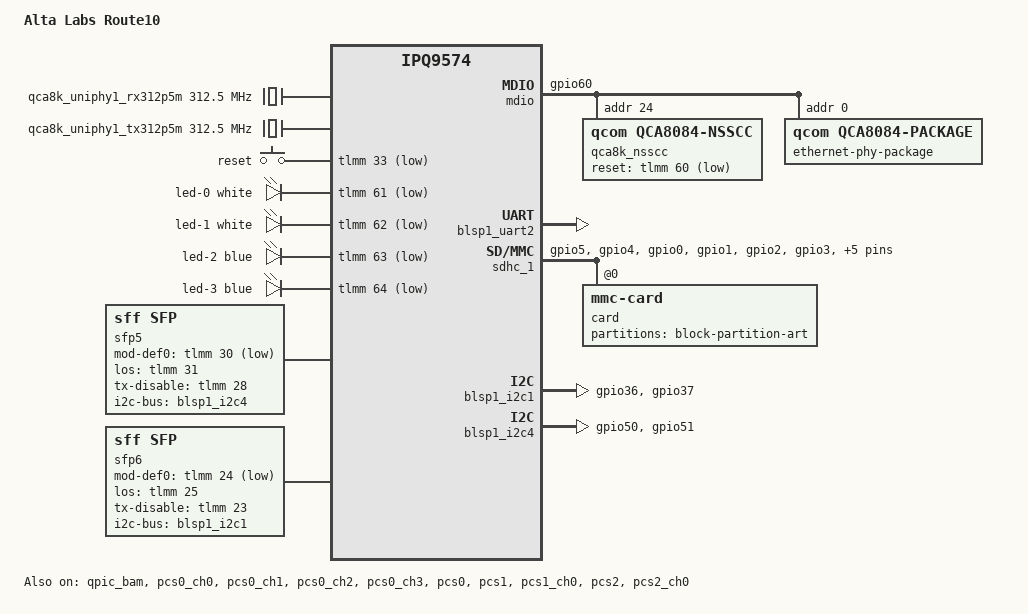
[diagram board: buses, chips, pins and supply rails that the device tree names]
// SPDX-License-Identifier: (GPL-2.0+ OR BSD-3-Clause)
/*
 * IPQ9574 Route10 board device tree source
 *
 * Copyright (c) 2020-2021 The Linux Foundation. All rights reserved.
 * Copyright (c) 2022-2024 Qualcomm Innovation Center, Inc. All rights reserved.
 * Copyright (c) 2026 Skylar Folf
 */

/dts-v1/;

#include <dt-bindings/gpio/gpio.h>
#include <dt-bindings/input/input.h>
#include <dt-bindings/leds/common.h>
#include <dt-bindings/net/qcom,qca808x.h>
#include <dt-bindings/clock/qcom,qca8k-nsscc.h>
#include <dt-bindings/reset/qcom,qca8k-nsscc.h>
#include <dt-bindings/clock/qcom,ipq-cmn-pll.h>
#include "ipq9574.dtsi"

/ {
	model = "Alta Labs Route10";
	compatible = "alta,route10", "qcom,ipq9574";

	aliases {
		serial0 = &blsp1_uart2;
		serial1 = &blsp1_uart4;
		serial2 = &blsp1_uart3;
		ethernet0 = &xgmac1;
		ethernet1 = &xgmac2;
		ethernet2 = &xgmac3;
		ethernet3 = &xgmac4;
		ethernet4 = &xgmac5;
		ethernet5 = &xgmac6;
	};

	chosen {
		stdout-path = "serial0:115200n8";
		bootargs-append = " vmalloc=1G";
	};

	clocks {
		qca8k_uniphy1_rx312p5m: qca8k-uniphy1-rx312p5m {
			compatible = "fixed-clock";
			clock-frequency = <312500000>;
			#clock-cells = <0>;
		};

		qca8k_uniphy1_tx312p5m: qca8k-uniphy1-tx312p5m {
			compatible = "fixed-clock";
			clock-frequency = <312500000>;
			#clock-cells = <0>;
		};
	};

	keys {
		compatible = "gpio-keys";
		pinctrl-0 = <&button_pins>;
		pinctrl-names = "default";

		button-reset {
			label = "reset";
			linux,code = <KEY_RESTART>;
			gpios = <&tlmm 33 GPIO_ACTIVE_LOW>;
			debounce-interval = <60>;
		};
	};

	leds {
		compatible = "gpio-leds";
		pinctrl-0 = <&sfp_leds>;
		pinctrl-names = "default";

		led-0 {
			color = <LED_COLOR_ID_WHITE>;
			function = LED_FUNCTION_LAN;
			function-enumerator = <4>;
			gpios = <&tlmm 61 GPIO_ACTIVE_LOW>;
		};

		led-1 {
			color = <LED_COLOR_ID_WHITE>;
			function = LED_FUNCTION_WAN;
			function-enumerator = <2>;
			gpios = <&tlmm 62 GPIO_ACTIVE_LOW>;
		};

		led-2 {
			color = <LED_COLOR_ID_BLUE>;
			function = LED_FUNCTION_LAN;
			function-enumerator = <4>;
			gpios = <&tlmm 63 GPIO_ACTIVE_LOW>;
		};

		led-3 {
			color = <LED_COLOR_ID_BLUE>;
			function = LED_FUNCTION_WAN;
			function-enumerator = <2>;
			gpios = <&tlmm 64 GPIO_ACTIVE_LOW>;
		};
	};

	/*
	 * Each cage's i2c bus and presence/LOS GPIOs follow the UNIPHY SERDES
	 * it is wired to, not pin adjacency: UNIPHY1 (wan2, port 5) uses
	 * blsp1_i2c4 with gpio28/30/31, UNIPHY2 (lan4, port 6) uses blsp1_i2c1
	 * with gpio23/24/25. Crossing them lets the driver manage one cage's
	 * module while the SERDES carries the other, so the module is detected
	 * but the host PCS never syncs.
	 */
	sfp5: sfp-5 {
		compatible = "sff,sfp";
		pinctrl-0 = <&sfp_pins_wan2>;
		pinctrl-names = "default";
		i2c-bus = <&blsp1_i2c4>;
		mod-def0-gpios = <&tlmm 30 GPIO_ACTIVE_LOW>;
		los-gpios = <&tlmm 31 GPIO_ACTIVE_HIGH>;
		tx-disable-gpios = <&tlmm 28 GPIO_ACTIVE_HIGH>;
	};

	sfp6: sfp-6 {
		compatible = "sff,sfp";
		pinctrl-0 = <&sfp_pins_lan4>;
		pinctrl-names = "default";
		i2c-bus = <&blsp1_i2c1>;
		mod-def0-gpios = <&tlmm 24 GPIO_ACTIVE_LOW>;
		los-gpios = <&tlmm 25 GPIO_ACTIVE_HIGH>;
		tx-disable-gpios = <&tlmm 23 GPIO_ACTIVE_HIGH>;
	};
};

&qpic_bam {
	status = "okay";
};

&sleep_clk {
	clock-frequency = <32000>;
};

&usb_0_qmpphy {
	status = "disabled";
};

&rpm_requests {
	regulators {
		compatible = "qcom,rpm-mp5496-regulators";

		ipq9574_s1: s1 {
			regulator-min-microvolt = <587500>;
			regulator-max-microvolt = <1075000>;
		};

		ipq9574_s2: s2 {
			regulator-min-microvolt = <700000>;
			regulator-max-microvolt = <1000000>;
		};
	};
};

&tlmm {
	button_pins: button-pins {
		reset-button {
			pins = "gpio33";
			function = "gpio";
			drive-strength = <8>;
			bias-pull-up;
		};
	};

	emmc_pins: emmc-pins {
		emmc-clk {
			pins = "gpio5";
			function = "sdc_clk";
			drive-strength = <8>;
			bias-disable;
		};

		emmc-cmd {
			pins = "gpio4";
			function = "sdc_cmd";
			drive-strength = <8>;
			bias-pull-up;
		};

		emmc-data {
			pins = "gpio0", "gpio1", "gpio2",
			       "gpio3", "gpio6", "gpio7",
			       "gpio8", "gpio9";
			function = "sdc_data";
			drive-strength = <8>;
			bias-pull-up;
		};

		emmc-rclk {
			pins = "gpio10";
			function = "sdc_rclk";
			drive-strength = <8>;
			bias-pull-down;
		};
	};

	sfp_leds: sfp-leds-pinmux {
		led-en {
			pins = "gpio43";
			function = "gpio";
			drive-strength = <2>;
			bias-pull-down;
			output-low;
		};

		sfp-white-lan4 {
			pins = "gpio61";
			function = "gpio";
			drive-strength = <8>;
			bias-pull-up;
		};

		sfp-white-wan2 {
			pins = "gpio62";
			function = "gpio";
			drive-strength = <8>;
			bias-pull-up;
		};

		sfp-blue-lan4 {
			pins = "gpio63";
			function = "gpio";
			drive-strength = <8>;
			bias-pull-up;
		};

		sfp-blue-wan2 {
			pins = "gpio64";
			function = "gpio";
			drive-strength = <8>;
			bias-pull-up;
		};
	};

	sfp_pins_wan2: sfp-pinmux-wan2 {
		sfp-tx {
			pins = "gpio28";
			function = "gpio";
			drive-strength = <8>;
			bias-pull-down;
			output-low;
		};

		sfp-modabs {
			pins = "gpio30";
			function = "gpio";
			drive-strength = <8>;
			bias-pull-up;
		};

		sfp-rx {
			pins = "gpio31";
			function = "gpio";
			drive-strength = <8>;
			bias-disable;
		};
	};

	sfp_pins_lan4: sfp-pinmux-lan4 {
		sfp-tx {
			pins = "gpio23";
			function = "gpio";
			drive-strength = <8>;
			bias-pull-down;
			output-low;
		};

		sfp-modabs {
			pins = "gpio24";
			function = "gpio";
			drive-strength = <8>;
			bias-pull-up;
		};

		sfp-rx {
			pins = "gpio25";
			function = "gpio";
			drive-strength = <8>;
			bias-disable;
		};
	};

	i2c_1_pins: i2c-1-pins {
		pins = "gpio36", "gpio37";
		function = "blsp1_i2c";
		drive-strength = <8>;
		bias-disable;
	};

	phy_reset_pins: phy-reset-pins {
		pins = "gpio60";
		function = "gpio";
		drive-strength = <2>;
		bias-disable;
	};

	i2c_4_pins: i2c-4-pins {
		pins = "gpio50", "gpio51";
		function = "blsp4_i2c";
		drive-strength = <8>;
		bias-disable;
	};
};

&mdio {
	pinctrl-0 = <&mdio_pins>, <&phy_reset_pins>;
	pinctrl-names = "default";
	status = "okay";

	/*
	 * QCA8084 integrated clock & reset controller (NSS CC).
	 * The reset GPIO lives on this node: the nsscc driver enables the
	 * ETH0_50MHZ reference clock and then pulses the GPIO, which is the
	 * only way the chip's internal reset actually takes effect.  Putting
	 * reset-gpios on &mdio (pre-scan reset) pulses it before the ref
	 * clock is running, so the chip is left half-initialized.
	 */
	qca8k_nsscc: clock-controller@18 {
		compatible = "qcom,qca8084-nsscc";
		reg = <0x18>;
		reset-gpios = <&tlmm 60 GPIO_ACTIVE_LOW>;
		clocks = <&cmn_pll ETH0_50MHZ_CLK>,
			 <0>,
			 <0>,
			 <0>,
			 <0>,
			 <&qca8k_uniphy1_rx312p5m>,
			 <&qca8k_uniphy1_tx312p5m>;
		#clock-cells = <1>;
		#reset-cells = <1>;
	};

	/* QCA8084 four-port PHY package, 10G-QXGMII to the SoC UNIPHY0 (pcs0) */
	ethernet-phy-package@0 {
		#address-cells = <1>;
		#size-cells = <0>;
		compatible = "qcom,qca8084-package";
		reg = <0>;

		clocks = <&qca8k_nsscc NSS_CC_APB_BRIDGE_CLK>,
			 <&qca8k_nsscc NSS_CC_AHB_CLK>,
			 <&qca8k_nsscc NSS_CC_SEC_CTRL_AHB_CLK>,
			 <&qca8k_nsscc NSS_CC_TLMM_CLK>,
			 <&qca8k_nsscc NSS_CC_TLMM_AHB_CLK>,
			 <&qca8k_nsscc NSS_CC_CNOC_AHB_CLK>,
			 <&qca8k_nsscc NSS_CC_MDIO_AHB_CLK>;
		clock-names = "apb_bridge",
			      "ahb",
			      "sec_ctrl_ahb",
			      "tlmm",
			      "tlmm_ahb",
			      "cnoc_ahb",
			      "mdio_ahb";
		resets = <&qca8k_nsscc NSS_CC_GEPHY_FULL_ARES>;

		/*
		 * 10G-QXGMII: the package's own PCS1/XPCS carries all four
		 * ports, so its internal PCS0 is unused. Not to be confused
		 * with the SoC's pcs0 above, which is the link to the host.
		 */
		qcom,package-mode = <QCA808X_PCS1_10G_QXGMII_PCS0_UNUNSED>;
		/* Remap PHY0-3 to MDIO 1-4, PCS0→5, SRDS1→6, XPCS→7 */
		qcom,phy-addr-fixup = <1 2 3 4 5 6 7>;

		phy0: ethernet-phy@1 {
			compatible = "ethernet-phy-id004d.d180";
			reg = <1>;
			clocks = <&qca8k_nsscc NSS_CC_GEPHY0_SYS_CLK>;
			resets = <&qca8k_nsscc NSS_CC_GEPHY0_SYS_ARES>;
			qcom,xpcs-channel = <0>;
		};

		phy1: ethernet-phy@2 {
			compatible = "ethernet-phy-id004d.d180";
			reg = <2>;
			clocks = <&qca8k_nsscc NSS_CC_GEPHY1_SYS_CLK>;
			resets = <&qca8k_nsscc NSS_CC_GEPHY1_SYS_ARES>;
			qcom,xpcs-channel = <1>;
		};

		phy2: ethernet-phy@3 {
			compatible = "ethernet-phy-id004d.d180";
			reg = <3>;
			clocks = <&qca8k_nsscc NSS_CC_GEPHY2_SYS_CLK>;
			resets = <&qca8k_nsscc NSS_CC_GEPHY2_SYS_ARES>;
			qcom,xpcs-channel = <2>;
		};

		phy3: ethernet-phy@4 {
			compatible = "ethernet-phy-id004d.d180";
			reg = <4>;
			clocks = <&qca8k_nsscc NSS_CC_GEPHY3_SYS_CLK>;
			resets = <&qca8k_nsscc NSS_CC_GEPHY3_SYS_ARES>;
			qcom,xpcs-channel = <3>;
		};

		/* SRDS1 / PCS1 (PCS component at MDIO 6) */
		pcs-phy@6 {
			compatible = "qcom,qca8k-pcs-phy";
			reg = <6>;
			clocks = <&qca8k_nsscc NSS_CC_SRDS1_SYS_CLK>,
				 <&qca8k_uniphy1_tx312p5m>,
				 <&qca8k_uniphy1_rx312p5m>;
			clock-names = "pcs", "pcs_rx_root", "pcs_tx_root";
			resets = <&qca8k_nsscc NSS_CC_SRDS1_SYS_ARES>;
		};

		/* XPCS (PCS1 XPCS component at MDIO 7), 4 channels for 10G-QXGMII */
		xpcs-phy@7 {
			compatible = "qcom,qca8k-xpcs-phy";
			reg = <7>;
			#address-cells = <1>;
			#size-cells = <0>;
			resets = <&qca8k_nsscc NSS_CC_XPCS_ARES>;

			channel@0 {
				reg = <0>;
				clocks = <&qca8k_nsscc NSS_CC_MAC1_SRDS1_CH0_XGMII_TX_CLK>,
					 <&qca8k_nsscc NSS_CC_MAC1_SRDS1_CH0_XGMII_RX_CLK>,
					 <&qca8k_nsscc NSS_CC_MAC1_SRDS1_CH0_TX_CLK>,
					 <&qca8k_nsscc NSS_CC_MAC1_SRDS1_CH0_RX_CLK>,
					 <&qca8k_nsscc NSS_CC_MAC1_GEPHY0_RX_CLK>,
					 <&qca8k_nsscc NSS_CC_MAC1_GEPHY0_TX_CLK>,
					 <&qca8k_nsscc NSS_CC_MAC1_RX_CLK_SRC>,
					 <&qca8k_nsscc NSS_CC_MAC1_TX_CLK_SRC>;
				clock-names = "xgmii_rx", "xgmii_tx",
					      "xpcs_rx", "xpcs_tx",
					      "port_rx", "port_tx",
					      "rx_src", "tx_src";
				resets = <&qca8k_nsscc NSS_CC_MAC1_SRDS1_CH0_XGMII_TX_ARES>,
					 <&qca8k_nsscc NSS_CC_MAC1_SRDS1_CH0_XGMII_RX_ARES>,
					 <&qca8k_nsscc NSS_CC_MAC1_SRDS1_CH0_TX_ARES>,
					 <&qca8k_nsscc NSS_CC_MAC1_SRDS1_CH0_RX_ARES>,
					 <&qca8k_nsscc NSS_CC_MAC1_GEPHY0_RX_ARES>,
					 <&qca8k_nsscc NSS_CC_MAC1_GEPHY0_TX_ARES>;
				reset-names = "xgmii_rx", "xgmii_tx",
					      "xpcs_rx", "xpcs_tx",
					      "port_rx", "port_tx";
			};

			channel@1 {
				reg = <1>;
				clocks = <&qca8k_nsscc NSS_CC_MAC2_SRDS1_CH1_XGMII_TX_CLK>,
					 <&qca8k_nsscc NSS_CC_MAC2_SRDS1_CH1_XGMII_RX_CLK>,
					 <&qca8k_nsscc NSS_CC_MAC2_SRDS1_CH1_TX_CLK>,
					 <&qca8k_nsscc NSS_CC_MAC2_SRDS1_CH1_RX_CLK>,
					 <&qca8k_nsscc NSS_CC_MAC2_GEPHY1_RX_CLK>,
					 <&qca8k_nsscc NSS_CC_MAC2_GEPHY1_TX_CLK>,
					 <&qca8k_nsscc NSS_CC_MAC2_RX_CLK_SRC>,
					 <&qca8k_nsscc NSS_CC_MAC2_TX_CLK_SRC>;
				clock-names = "xgmii_rx", "xgmii_tx",
					      "xpcs_rx", "xpcs_tx",
					      "port_rx", "port_tx",
					      "rx_src", "tx_src";
				resets = <&qca8k_nsscc NSS_CC_MAC2_SRDS1_CH1_XGMII_TX_ARES>,
					 <&qca8k_nsscc NSS_CC_MAC2_SRDS1_CH1_XGMII_RX_ARES>,
					 <&qca8k_nsscc NSS_CC_MAC2_SRDS1_CH1_TX_ARES>,
					 <&qca8k_nsscc NSS_CC_MAC2_SRDS1_CH1_RX_ARES>,
					 <&qca8k_nsscc NSS_CC_MAC2_GEPHY1_RX_ARES>,
					 <&qca8k_nsscc NSS_CC_MAC2_GEPHY1_TX_ARES>;
				reset-names = "xgmii_rx", "xgmii_tx",
					      "xpcs_rx", "xpcs_tx",
					      "port_rx", "port_tx";
			};

			channel@2 {
				reg = <2>;
				clocks = <&qca8k_nsscc NSS_CC_MAC3_SRDS1_CH2_XGMII_TX_CLK>,
					 <&qca8k_nsscc NSS_CC_MAC3_SRDS1_CH2_XGMII_RX_CLK>,
					 <&qca8k_nsscc NSS_CC_MAC3_SRDS1_CH2_TX_CLK>,
					 <&qca8k_nsscc NSS_CC_MAC3_SRDS1_CH2_RX_CLK>,
					 <&qca8k_nsscc NSS_CC_MAC3_GEPHY2_RX_CLK>,
					 <&qca8k_nsscc NSS_CC_MAC3_GEPHY2_TX_CLK>,
					 <&qca8k_nsscc NSS_CC_MAC3_RX_CLK_SRC>,
					 <&qca8k_nsscc NSS_CC_MAC3_TX_CLK_SRC>;
				clock-names = "xgmii_rx", "xgmii_tx",
					      "xpcs_rx", "xpcs_tx",
					      "port_rx", "port_tx",
					      "rx_src", "tx_src";
				resets = <&qca8k_nsscc NSS_CC_MAC3_SRDS1_CH2_XGMII_TX_ARES>,
					 <&qca8k_nsscc NSS_CC_MAC3_SRDS1_CH2_XGMII_RX_ARES>,
					 <&qca8k_nsscc NSS_CC_MAC3_SRDS1_CH2_TX_ARES>,
					 <&qca8k_nsscc NSS_CC_MAC3_SRDS1_CH2_RX_ARES>,
					 <&qca8k_nsscc NSS_CC_MAC3_GEPHY2_RX_ARES>,
					 <&qca8k_nsscc NSS_CC_MAC3_GEPHY2_TX_ARES>;
				reset-names = "xgmii_rx", "xgmii_tx",
					      "xpcs_rx", "xpcs_tx",
					      "port_rx", "port_tx";
			};

			channel@3 {
				reg = <3>;
				clocks = <&qca8k_nsscc NSS_CC_MAC4_SRDS1_CH3_XGMII_TX_CLK>,
					 <&qca8k_nsscc NSS_CC_MAC4_SRDS1_CH3_XGMII_RX_CLK>,
					 <&qca8k_nsscc NSS_CC_MAC4_SRDS1_CH3_TX_CLK>,
					 <&qca8k_nsscc NSS_CC_MAC4_SRDS1_CH3_RX_CLK>,
					 <&qca8k_nsscc NSS_CC_MAC4_GEPHY3_RX_CLK>,
					 <&qca8k_nsscc NSS_CC_MAC4_GEPHY3_TX_CLK>,
					 <&qca8k_nsscc NSS_CC_MAC4_RX_CLK_SRC>,
					 <&qca8k_nsscc NSS_CC_MAC4_TX_CLK_SRC>;
				clock-names = "xgmii_rx", "xgmii_tx",
					      "xpcs_rx", "xpcs_tx",
					      "port_rx", "port_tx",
					      "rx_src", "tx_src";
				resets = <&qca8k_nsscc NSS_CC_MAC4_SRDS1_CH3_XGMII_TX_ARES>,
					 <&qca8k_nsscc NSS_CC_MAC4_SRDS1_CH3_XGMII_RX_ARES>,
					 <&qca8k_nsscc NSS_CC_MAC4_SRDS1_CH3_TX_ARES>,
					 <&qca8k_nsscc NSS_CC_MAC4_SRDS1_CH3_RX_ARES>,
					 <&qca8k_nsscc NSS_CC_MAC4_GEPHY3_RX_ARES>,
					 <&qca8k_nsscc NSS_CC_MAC4_GEPHY3_TX_ARES>;
				reset-names = "xgmii_rx", "xgmii_tx",
					      "xpcs_rx", "xpcs_tx",
					      "port_rx", "port_tx";
			};
		};
	};
};

&qcom_ppe {
	ethernet-ports {
		#address-cells = <1>;
		#size-cells = <0>;

		xgmac1: port@1 {
			reg = <1>;
			phy-mode = "10g-qxgmii";
			nvmem-cells = <&macaddr_art_0>;
			nvmem-cell-names = "mac-address";
			label = "lan3";
			phy-handle = <&phy0>;
			pcs-handle = <&pcs0_ch0>;
			clocks = <&nsscc NSS_CC_PORT1_MAC_CLK>,
				 <&nsscc NSS_CC_PORT1_RX_CLK>,
				 <&nsscc NSS_CC_PORT1_TX_CLK>;
			clock-names = "mac", "rx", "tx";
			resets = <&nsscc PORT1_MAC_ARES>,
				 <&nsscc PORT1_RX_ARES>,
				 <&nsscc PORT1_TX_ARES>;
			reset-names = "mac", "rx", "tx";
		};

		xgmac2: port@2 {
			reg = <2>;
			phy-mode = "10g-qxgmii";
			nvmem-cells = <&macaddr_art_6>;
			nvmem-cell-names = "mac-address";
			label = "lan2";
			phy-handle = <&phy1>;
			pcs-handle = <&pcs0_ch1>;
			clocks = <&nsscc NSS_CC_PORT2_MAC_CLK>,
				 <&nsscc NSS_CC_PORT2_RX_CLK>,
				 <&nsscc NSS_CC_PORT2_TX_CLK>;
			clock-names = "mac", "rx", "tx";
			resets = <&nsscc PORT2_MAC_ARES>,
				 <&nsscc PORT2_RX_ARES>,
				 <&nsscc PORT2_TX_ARES>;
			reset-names = "mac", "rx", "tx";
		};

		xgmac3: port@3 {
			reg = <3>;
			phy-mode = "10g-qxgmii";
			nvmem-cells = <&macaddr_art_c>;
			nvmem-cell-names = "mac-address";
			label = "lan1";
			phy-handle = <&phy2>;
			pcs-handle = <&pcs0_ch2>;
			clocks = <&nsscc NSS_CC_PORT3_MAC_CLK>,
				 <&nsscc NSS_CC_PORT3_RX_CLK>,
				 <&nsscc NSS_CC_PORT3_TX_CLK>;
			clock-names = "mac", "rx", "tx";
			resets = <&nsscc PORT3_MAC_ARES>,
				 <&nsscc PORT3_RX_ARES>,
				 <&nsscc PORT3_TX_ARES>;
			reset-names = "mac", "rx", "tx";
		};

		xgmac4: port@4 {
			reg = <4>;
			phy-mode = "10g-qxgmii";
			nvmem-cells = <&macaddr_art_12>;
			nvmem-cell-names = "mac-address";
			label = "wan1";
			phy-handle = <&phy3>;
			pcs-handle = <&pcs0_ch3>;
			clocks = <&nsscc NSS_CC_PORT4_MAC_CLK>,
				 <&nsscc NSS_CC_PORT4_RX_CLK>,
				 <&nsscc NSS_CC_PORT4_TX_CLK>;
			clock-names = "mac", "rx", "tx";
			resets = <&nsscc PORT4_MAC_ARES>,
				 <&nsscc PORT4_RX_ARES>,
				 <&nsscc PORT4_TX_ARES>;
			reset-names = "mac", "rx", "tx";
		};

		xgmac5: port@5 {
			reg = <5>;
			phy-mode = "usxgmii";
			managed = "in-band-status";
			nvmem-cells = <&macaddr_art_18>;
			nvmem-cell-names = "mac-address";
			label = "wan2";
			sfp = <&sfp5>;
			pcs-handle = <&pcs1_ch0>;
			clocks = <&nsscc NSS_CC_PORT5_MAC_CLK>,
				 <&nsscc NSS_CC_PORT5_RX_CLK>,
				 <&nsscc NSS_CC_PORT5_TX_CLK>;
			clock-names = "mac", "rx", "tx";
			resets = <&nsscc PORT5_MAC_ARES>,
				 <&nsscc PORT5_RX_ARES>,
				 <&nsscc PORT5_TX_ARES>;
			reset-names = "mac", "rx", "tx";
		};

		xgmac6: port@6 {
			reg = <6>;
			phy-mode = "usxgmii";
			managed = "in-band-status";
			nvmem-cells = <&macaddr_art_1e>;
			nvmem-cell-names = "mac-address";
			label = "lan4";
			sfp = <&sfp6>;
			pcs-handle = <&pcs2_ch0>;
			clocks = <&nsscc NSS_CC_PORT6_MAC_CLK>,
				 <&nsscc NSS_CC_PORT6_RX_CLK>,
				 <&nsscc NSS_CC_PORT6_TX_CLK>;
			clock-names = "mac", "rx", "tx";
			resets = <&nsscc PORT6_MAC_ARES>,
				 <&nsscc PORT6_RX_ARES>,
				 <&nsscc PORT6_TX_ARES>;
			reset-names = "mac", "rx", "tx";
		};
	};
};

&blsp1_uart2 {
	pinctrl-0 = <&uart2_pins>;
	pinctrl-names = "default";
	status = "okay";
};

&sdhc_1 {
	#address-cells = <1>;
	#size-cells = <0>;
	pinctrl-0 = <&emmc_pins>;
	pinctrl-names = "default";
	status = "okay";

	card@0 {
		compatible = "mmc-card";
		reg = <0>;

		block {
			compatible = "block-device";

			partitions {
				block-partition-art {
					partname = "0:ART";

					nvmem-layout {
						compatible = "fixed-layout";
						#address-cells = <1>;
						#size-cells = <1>;

						macaddr_art_0: macaddr@0 {
							reg = <0x00 0x6>;
						};

						macaddr_art_6: macaddr@6 {
							reg = <0x06 0x6>;
						};

						macaddr_art_c: macaddr@c {
							reg = <0x0c 0x6>;
						};

						macaddr_art_12: macaddr@12 {
							reg = <0x12 0x6>;
						};

						macaddr_art_18: macaddr@18 {
							reg = <0x18 0x6>;
						};

						macaddr_art_1e: macaddr@1e {
							reg = <0x1e 0x6>;
						};
					};
				};
			};
		};
	};
};

&blsp1_i2c1 {
	pinctrl-0 = <&i2c_1_pins>;
	pinctrl-names = "default";
	status = "okay";
};

&blsp1_i2c4 {
	pinctrl-0 = <&i2c_4_pins>;
	pinctrl-names = "default";
	status = "okay";
};

/*
 * Clock tree: xo_clk (24 MHz) -> ref_48mhz_clk (x2 = 48 MHz, feeds CMN PLL)
 *                              -> xo_board_clk (/2 = 24 MHz)
 * cmn_pll needs a 48 MHz reference; without the ref_48mhz_clk multiplier the
 * QCA8084 50 MHz feed is wrong and PCS calibration times out.
 */
&xo_clk {
	clock-frequency = <24000000>;
};

&ref_48mhz_clk {
	clock-div = <1>;
	clock-mult = <2>;
};

&xo_board_clk {
	clock-div = <2>;
	clock-mult = <1>;
};

&pcs0_ch0 {
	status = "okay";
};

&pcs0_ch1 {
	status = "okay";
};

&pcs0_ch2 {
	status = "okay";
};

&pcs0_ch3 {
	status = "okay";
};

&pcs0 {
	status = "okay";
};

&pcs1 {
	status = "okay";
};

&pcs1_ch0 {
	status = "okay";
};

&pcs2 {
	status = "okay";
};

&pcs2_ch0 {
	status = "okay";
};
